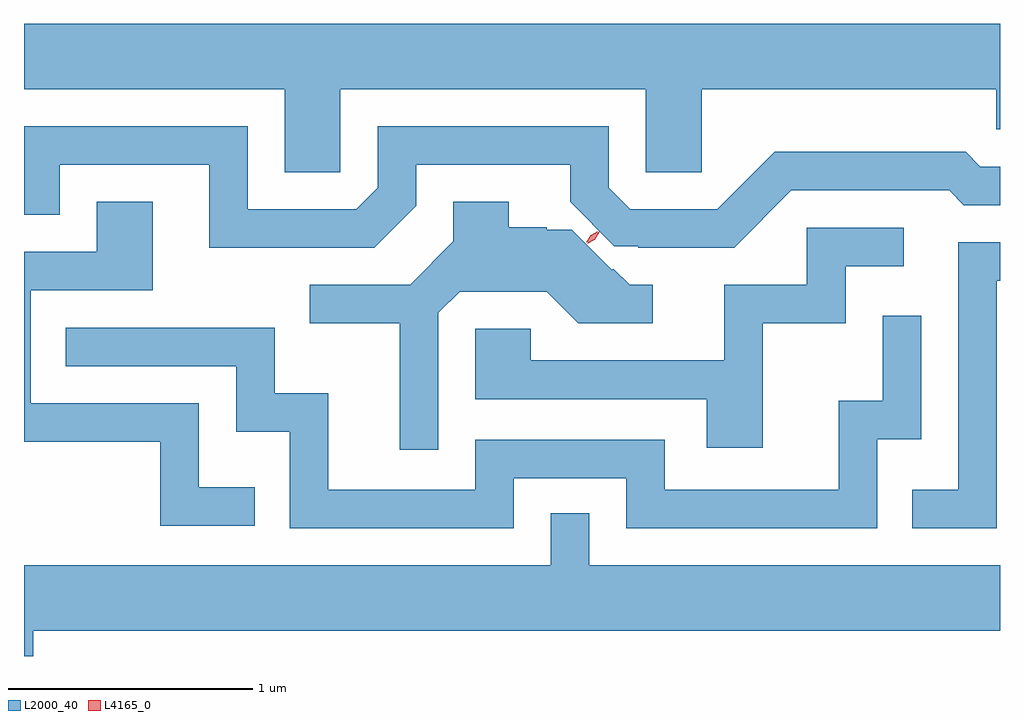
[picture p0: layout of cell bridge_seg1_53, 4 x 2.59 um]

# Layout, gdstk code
import gdstk
lib = gdstk.Library(unit=1e-6, precision=1e-09)
def P(c, l, *ps):  # polygons
    for p in ps: c.add(gdstk.Polygon(p, *l))
L2000_40 = (2000, 40)
L4165_0 = (4165, 0)

bridge_seg1_53 = lib.new_cell('bridge_seg1_53')
P(bridge_seg1_53, L2000_40, [(1806.349,897.356),(1807.601,897.356),(1807.601,897.016),(1807.829,897.016),(1807.829,897.356),(1809.036,897.356),(1809.036,897.191),(1809.052,897.191),(1809.052,897.624),(1805.052,897.624),(1805.052,897.356),(1806.121,897.356),(1806.121,897.016),(1806.349,897.016)],
  [(1806.659,896.879),(1806.659,897.046),(1807.291,897.046),(1807.291,896.894),(1807.472,896.713),(1807.57,896.713),(1807.57,896.706),(1807.962,896.706),(1808.197,896.941),(1808.844,896.941),(1808.904,896.881),(1809.052,896.881),(1809.052,897.039),(1808.972,897.039),(1808.912,897.099),(1808.129,897.099),(1807.894,896.864),(1807.537,896.864),(1807.449,896.952),(1807.449,897.204),(1806.501,897.204),(1806.501,896.952),(1806.414,896.864),(1805.969,896.864),(1805.969,897.204),(1805.052,897.204),(1805.052,896.841),(1805.199,896.841),(1805.199,897.046),(1805.811,897.046),(1805.811,896.706),(1806.487,896.706)],
  [(1805.998,895.724),(1805.769,895.724),(1805.769,896.069),(1805.079,896.069),(1805.079,896.531),(1805.579,896.531),(1805.579,896.894),(1805.351,896.894),(1805.351,896.689),(1805.052,896.689),(1805.052,895.911),(1805.611,895.911),(1805.611,895.566),(1805.998,895.566)],
  [(1806.749,896.439),(1806.837,896.526),(1807.194,896.526),(1807.324,896.396),(1807.628,896.396),(1807.628,896.554),(1807.534,896.554),(1807.467,896.621),(1807.461,896.616),(1807.297,896.78),(1807.195,896.78),(1807.195,896.791),(1807.039,896.791),(1807.039,896.894),(1806.811,896.894),(1806.811,896.732),(1806.634,896.554),(1806.223,896.554),(1806.223,896.396),(1806.591,896.396),(1806.591,895.878),(1806.749,895.878)],
  [(1808.079,896.396),(1808.419,896.396),(1808.419,896.631),(1808.658,896.631),(1808.658,896.789),(1808.261,896.789),(1808.261,896.554),(1807.921,896.554),(1807.921,896.244),(1807.129,896.244),(1807.129,896.374),(1806.901,896.374),(1806.901,896.086),(1807.851,896.086),(1807.851,895.886),(1808.079,895.886)],
  [(1809.039,896.571),(1809.052,896.571),(1809.052,896.729),(1808.881,896.729),(1808.881,895.714),(1808.693,895.714),(1808.693,895.556),(1809.039,895.556)],
  [(1807.059,895.761),(1807.521,895.761),(1807.521,895.556),(1808.549,895.556),(1808.549,895.921),(1808.729,895.921),(1808.729,896.428),(1808.571,896.428),(1808.571,896.079),(1808.391,896.079),(1808.391,895.714),(1807.679,895.714),(1807.679,895.919),(1806.901,895.919),(1806.901,895.714),(1806.299,895.714),(1806.299,896.109),(1806.079,896.109),(1806.079,896.379),(1805.223,896.379),(1805.223,896.221),(1805.921,896.221),(1805.921,895.951),(1806.141,895.951),(1806.141,895.556),(1807.059,895.556)],
  [(1805.089,895.136),(1809.052,895.136),(1809.052,895.404),(1807.369,895.404),(1807.369,895.618),(1807.211,895.618),(1807.211,895.404),(1805.052,895.404),(1805.052,895.032),(1805.089,895.032)])
P(bridge_seg1_53, L4165_0, [(1807.36,896.722),(1807.36,896.722),(1807.378,896.753),(1807.409,896.771),(1807.41,896.771),(1807.41,896.77),(1807.392,896.739),(1807.361,896.722)],
  [(1807.357,896.728),(1807.357,896.729),(1807.374,896.758),(1807.403,896.774),(1807.404,896.774),(1807.404,896.773),(1807.387,896.744),(1807.358,896.728)])

lib.write_gds('bridge_seg1_53.gds')
